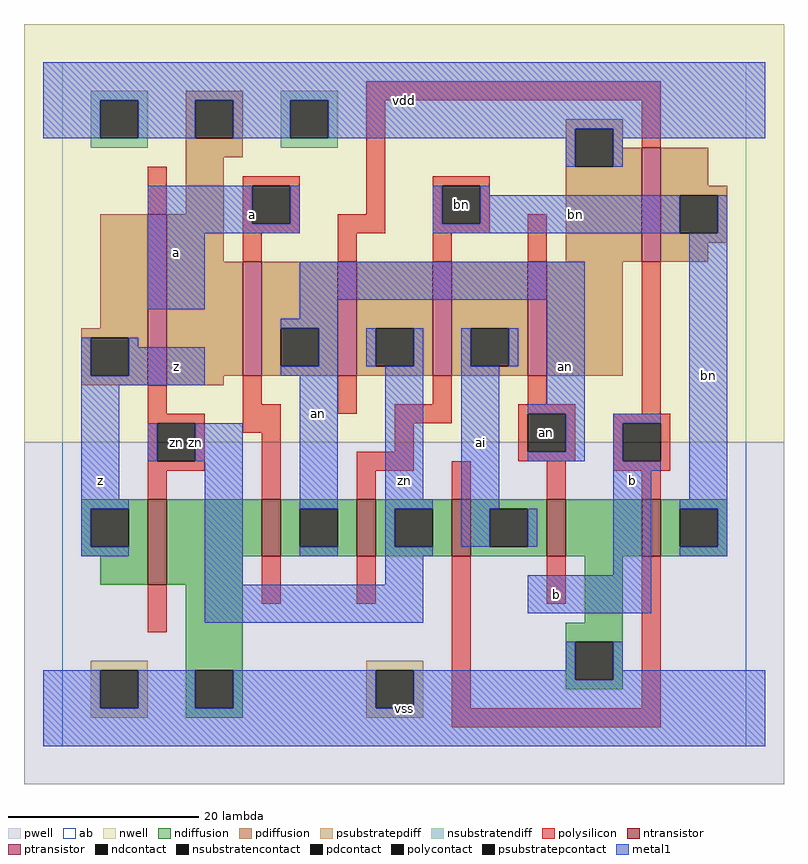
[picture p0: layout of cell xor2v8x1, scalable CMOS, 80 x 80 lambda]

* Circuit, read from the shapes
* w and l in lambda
.subckt xor2v8x1 a ai an b bn vdd vss z zn
M1 vss zn z vss nfet w=9 l=2
M2 an a vss vss nfet w=6 l=2
M3 zn bn an vss nfet w=6 l=2
M4 ai b zn vss nfet w=6 l=2
M5 vss an ai vss nfet w=6 l=2
M6 bn b vss vss nfet w=6 l=2
M7 vdd zn z vdd pfet w=18 l=2
M8 an a vdd vdd pfet w=12 l=2
M9 zn b an vdd pfet w=12 l=2
M10 ai bn zn vdd pfet w=12 l=2
M11 vdd an ai vdd pfet w=12 l=2
M12 bn b vdd vdd pfet w=12 l=2
.ends

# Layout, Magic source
magic
tech scmos
<< ab >>
rect 0 0 72 72
<< pwell >>
rect -4 -4 76 32
<< nwell >>
rect -4 32 76 76
<< polysilicon >>
rect 32 68 63 70
rect 9 56 11 61
rect 19 59 25 60
rect 19 55 20 59
rect 24 55 25 59
rect 32 56 34 68
rect 61 63 63 68
rect 19 54 25 55
rect 29 54 34 56
rect 39 59 45 60
rect 39 55 40 59
rect 44 55 45 59
rect 39 54 45 55
rect 19 51 21 54
rect 29 51 31 54
rect 39 51 41 54
rect 49 51 51 56
rect 9 35 11 38
rect 19 36 21 39
rect 9 34 15 35
rect 9 30 10 34
rect 14 30 15 34
rect 19 33 23 36
rect 29 35 31 39
rect 39 36 41 39
rect 49 36 51 39
rect 9 29 15 30
rect 9 26 11 29
rect 21 26 23 33
rect 35 34 41 36
rect 48 35 54 36
rect 61 35 63 51
rect 35 31 37 34
rect 31 29 37 31
rect 48 31 49 35
rect 53 31 54 35
rect 48 30 54 31
rect 58 34 64 35
rect 58 30 59 34
rect 63 30 64 34
rect 31 26 33 29
rect 41 26 43 30
rect 51 26 53 30
rect 58 29 64 30
rect 61 26 63 29
rect 9 12 11 17
rect 21 15 23 20
rect 31 15 33 20
rect 41 4 43 20
rect 51 15 53 20
rect 61 4 63 20
rect 41 2 63 4
<< ndiffusion >>
rect 2 25 9 26
rect 2 21 3 25
rect 7 21 9 25
rect 2 20 9 21
rect 4 17 9 20
rect 11 20 21 26
rect 23 25 31 26
rect 23 21 25 25
rect 29 21 31 25
rect 23 20 31 21
rect 33 25 41 26
rect 33 21 35 25
rect 39 21 41 25
rect 33 20 41 21
rect 43 25 51 26
rect 43 21 45 25
rect 49 21 51 25
rect 43 20 51 21
rect 53 20 61 26
rect 63 25 70 26
rect 63 21 65 25
rect 69 21 70 25
rect 63 20 70 21
rect 11 17 19 20
rect 13 8 19 17
rect 13 4 14 8
rect 18 4 19 8
rect 13 3 19 4
rect 55 13 59 20
rect 53 11 59 13
rect 53 7 54 11
rect 58 7 59 11
rect 53 6 59 7
<< pdiffusion >>
rect 13 68 19 69
rect 13 64 14 68
rect 18 64 19 68
rect 13 62 19 64
rect 13 56 17 62
rect 4 44 9 56
rect 2 43 9 44
rect 2 39 3 43
rect 7 39 9 43
rect 2 38 9 39
rect 11 51 17 56
rect 53 65 59 66
rect 53 61 54 65
rect 58 63 59 65
rect 58 61 61 63
rect 53 51 61 61
rect 63 59 68 63
rect 63 58 70 59
rect 63 54 65 58
rect 69 54 70 58
rect 63 53 70 54
rect 63 51 68 53
rect 11 39 19 51
rect 21 44 29 51
rect 21 40 23 44
rect 27 40 29 44
rect 21 39 29 40
rect 31 44 39 51
rect 31 40 33 44
rect 37 40 39 44
rect 31 39 39 40
rect 41 44 49 51
rect 41 40 43 44
rect 47 40 49 44
rect 41 39 49 40
rect 51 39 59 51
rect 11 38 17 39
<< metal1 >>
rect -2 68 74 72
rect -2 64 4 68
rect 8 64 14 68
rect 18 64 24 68
rect 28 65 74 68
rect 28 64 54 65
rect 53 61 54 64
rect 58 64 74 65
rect 58 61 59 64
rect 9 55 20 59
rect 24 55 25 59
rect 9 54 25 55
rect 39 55 40 59
rect 44 58 45 59
rect 44 55 65 58
rect 39 54 65 55
rect 69 54 70 58
rect 9 46 15 54
rect 25 47 55 51
rect 25 45 29 47
rect 23 44 29 45
rect 2 39 3 43
rect 7 42 8 43
rect 7 39 15 42
rect 27 40 29 44
rect 32 40 33 44
rect 37 40 38 44
rect 23 39 29 40
rect 2 38 15 39
rect 2 26 6 38
rect 9 30 10 34
rect 14 30 19 34
rect 2 25 7 26
rect 2 21 3 25
rect 2 20 7 21
rect 15 17 19 30
rect 25 25 29 39
rect 25 20 29 21
rect 34 26 38 40
rect 42 40 43 44
rect 47 40 48 44
rect 34 25 39 26
rect 34 21 35 25
rect 42 25 46 40
rect 51 36 55 47
rect 49 35 55 36
rect 53 31 55 35
rect 49 30 55 31
rect 58 34 63 35
rect 58 30 59 34
rect 58 29 63 30
rect 42 21 45 25
rect 49 21 50 25
rect 34 20 39 21
rect 34 17 38 20
rect 58 18 62 29
rect 66 26 70 54
rect 65 25 70 26
rect 69 21 70 25
rect 65 20 70 21
rect 15 13 38 17
rect 49 14 62 18
rect 53 8 54 11
rect -2 4 4 8
rect 8 4 14 8
rect 18 4 33 8
rect 37 7 54 8
rect 58 8 59 11
rect 58 7 74 8
rect 37 4 74 7
rect -2 0 74 4
<< ntransistor >>
rect 9 17 11 26
rect 21 20 23 26
rect 31 20 33 26
rect 41 20 43 26
rect 51 20 53 26
rect 61 20 63 26
<< ptransistor >>
rect 9 38 11 56
rect 61 51 63 63
rect 19 39 21 51
rect 29 39 31 51
rect 39 39 41 51
rect 49 39 51 51
<< polycontact >>
rect 20 55 24 59
rect 40 55 44 59
rect 10 30 14 34
rect 49 31 53 35
rect 59 30 63 34
<< ndcontact >>
rect 3 21 7 25
rect 25 21 29 25
rect 35 21 39 25
rect 45 21 49 25
rect 65 21 69 25
rect 14 4 18 8
rect 54 7 58 11
<< pdcontact >>
rect 14 64 18 68
rect 3 39 7 43
rect 54 61 58 65
rect 65 54 69 58
rect 23 40 27 44
rect 33 40 37 44
rect 43 40 47 44
<< psubstratepcontact >>
rect 4 4 8 8
rect 33 4 37 8
<< nsubstratencontact >>
rect 4 64 8 68
rect 24 64 28 68
<< psubstratepdiff >>
rect 3 8 9 9
rect 3 4 4 8
rect 8 4 9 8
rect 3 3 9 4
rect 32 8 38 9
rect 32 4 33 8
rect 37 4 38 8
rect 32 3 38 4
<< nsubstratendiff >>
rect 3 68 9 69
rect 3 64 4 68
rect 8 64 9 68
rect 3 63 9 64
rect 23 68 29 69
rect 23 64 24 68
rect 28 64 29 68
rect 23 63 29 64
<< labels >>
rlabel polycontact 12 32 12 32 6 zn
rlabel polycontact 42 57 42 57 6 bn
rlabel polycontact 51 33 51 33 6 an
rlabel metal1 4 28 4 28 6 z
rlabel metal1 12 40 12 40 6 z
rlabel metal1 12 52 12 52 6 a
rlabel metal1 14 32 14 32 6 zn
rlabel metal1 27 35 27 35 6 an
rlabel metal1 20 56 20 56 6 a
rlabel metal1 36 4 36 4 6 vss
rlabel metal1 52 16 52 16 6 b
rlabel metal1 53 40 53 40 6 an
rlabel metal1 44 32 44 32 6 ai
rlabel metal1 36 28 36 28 6 zn
rlabel metal1 36 68 36 68 6 vdd
rlabel metal1 60 28 60 28 6 b
rlabel metal1 54 56 54 56 6 bn
rlabel metal1 68 39 68 39 6 bn
<< end >>
